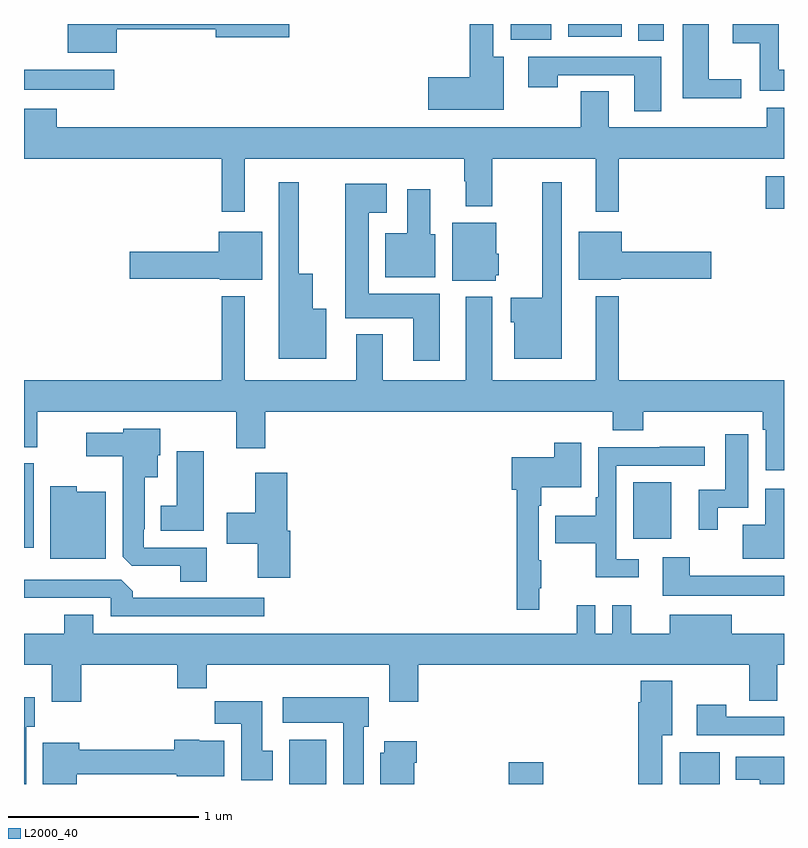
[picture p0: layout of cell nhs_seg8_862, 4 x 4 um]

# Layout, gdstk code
import gdstk
lib = gdstk.Library(unit=1e-6, precision=1e-09)
def R(c, l, rs):  # rectangles x0, y0, x1, y1
    for r in rs: c.add(gdstk.rectangle(r[:2], r[2:], *l))
def P(c, l, *ps):  # polygons
    for p in ps: c.add(gdstk.Polygon(p, *l))
L2000_40 = (2000, 40)

nhs_seg8_862 = lib.new_cell('nhs_seg8_862')
R(nhs_seg8_862, L2000_40, [(168.395,1087.9,168.592,1088.134), (169.55,1087.9,169.733,1088.014), (170.45,1087.9,170.662,1088.068), (167,1089.144,167.05,1089.588), (170.207,1089.191,170.407,1089.487), (170.904,1090.928,171,1091.098), (167,1091.555,167.476,1091.659), (170.234,1091.812,170.368,1091.9), (169.562,1091.816,169.774,1091.9), (169.865,1091.834,170.146,1091.9)])
P(nhs_seg8_862, L2000_40, [(167.488,1091.872),(168.008,1091.872),(168.008,1091.83),(168.397,1091.83),(168.397,1091.9),(167.231,1091.9),(167.231,1091.75),(167.488,1091.75)],
  [(171,1091.659),(170.973,1091.659),(170.973,1091.9),(170.73,1091.9),(170.73,1091.798),(170.872,1091.798),(170.872,1091.55),(171,1091.55)],
  [(169.525,1091.728),(169.471,1091.728),(169.471,1091.9),(169.346,1091.9),(169.346,1091.621),(169.128,1091.621),(169.128,1091.45),(169.525,1091.45)],
  [(170.776,1091.609),(170.605,1091.609),(170.605,1091.9),(170.468,1091.9),(170.468,1091.51),(170.776,1091.51)],
  [(170.353,1091.727),(169.653,1091.727),(169.653,1091.568),(169.809,1091.568),(169.809,1091.631),(170.213,1091.631),(170.213,1091.442),(170.353,1091.442)],
  [(168.163,1091.192),(169.318,1091.192),(169.318,1091.072),(169.325,1091.072),(169.325,1090.94),(169.465,1090.94),(169.465,1091.192),(170.009,1091.192),(170.009,1090.911),(170.131,1090.911),(170.131,1091.192),(171,1091.192),(171,1091.458),(170.909,1091.458),(170.909,1091.356),(170.077,1091.356),(170.077,1091.546),(169.93,1091.546),(169.93,1091.356),(167.173,1091.356),(167.173,1091.455),(167,1091.455),(167,1091.192),(168.042,1091.192),(168.042,1090.911),(168.163,1090.911)],
  [(169.831,1091.068),(169.727,1091.068),(169.727,1090.46),(169.562,1090.46),(169.562,1090.329),(169.58,1090.329),(169.58,1090.139),(169.831,1090.139)],
  [(168.592,1090.402),(168.52,1090.402),(168.52,1090.585),(168.445,1090.585),(168.445,1091.068),(168.341,1091.068),(168.341,1090.139),(168.592,1090.139)],
  [(169.189,1090.48),(168.814,1090.48),(168.814,1090.907),(168.91,1090.907),(168.91,1091.059),(168.692,1091.059),(168.692,1090.352),(169.049,1090.352),(169.049,1090.128),(169.189,1090.128)],
  [(169.165,1090.794),(169.138,1090.794),(169.138,1091.029),(169.016,1091.029),(169.016,1090.798),(168.902,1090.798),(168.902,1090.568),(169.165,1090.568)],
  [(169.482,1090.578),(169.498,1090.578),(169.498,1090.692),(169.486,1090.692),(169.486,1090.855),(169.253,1090.855),(169.253,1090.55),(169.482,1090.55)],
  [(168.253,1090.807),(168.026,1090.807),(168.026,1090.701),(167.556,1090.701),(167.556,1090.559),(168.03,1090.559),(168.03,1090.553),(168.253,1090.553)],
  [(170.142,1090.559),(170.617,1090.559),(170.617,1090.701),(170.146,1090.701),(170.146,1090.807),(169.919,1090.807),(169.919,1090.553),(170.142,1090.553)],
  [(171,1090.024),(170.131,1090.024),(170.131,1090.468),(170.009,1090.468),(170.009,1090.024),(169.465,1090.024),(169.465,1090.465),(169.325,1090.465),(169.325,1090.024),(168.889,1090.024),(168.889,1090.267),(168.749,1090.267),(168.749,1090.024),(168.163,1090.024),(168.163,1090.468),(168.042,1090.468),(168.042,1090.024),(167,1090.024),(167,1089.673),(167.071,1089.673),(167.071,1089.86),(168.116,1089.86),(168.116,1089.666),(168.269,1089.666),(168.269,1089.86),(170.099,1089.86),(170.099,1089.761),(170.259,1089.761),(170.259,1089.86),(170.889,1089.86),(170.889,1089.764),(170.904,1089.764),(170.904,1089.552),(171,1089.552)],
  [(167.962,1089.144),(167.631,1089.144),(167.631,1089.241),(167.635,1089.241),(167.635,1089.515),(167.704,1089.515),(167.704,1089.63),(167.716,1089.63),(167.716,1089.769),(167.523,1089.769),(167.523,1089.748),(167.328,1089.748),(167.328,1089.626),(167.519,1089.626),(167.519,1089.097),(167.568,1089.048),(167.822,1089.048),(167.822,1088.965),(167.962,1088.965)],
  [(170.65,1089.354),(170.812,1089.354),(170.812,1089.629),(170.811,1089.629),(170.811,1089.742),(170.69,1089.742),(170.69,1089.45),(170.552,1089.45),(170.552,1089.237),(170.65,1089.237)],
  [(169.712,1088.929),(169.723,1088.929),(169.723,1089.077),(169.71,1089.077),(169.71,1089.365),(169.723,1089.365),(169.723,1089.461),(169.933,1089.461),(169.933,1089.697),(169.79,1089.697),(169.79,1089.619),(169.568,1089.619),(169.568,1089.449),(169.594,1089.449),(169.594,1088.817),(169.712,1088.817)],
  [(170.236,1089.084),(170.118,1089.084),(170.118,1089.576),(170.584,1089.576),(170.584,1089.674),(170.347,1089.674),(170.347,1089.672),(170.022,1089.672),(170.022,1089.409),(170.01,1089.409),(170.01,1089.313),(169.795,1089.313),(169.795,1089.166),(170.01,1089.166),(170.01,1088.987),(170.236,1088.987)],
  [(167.947,1089.652),(167.804,1089.652),(167.804,1089.364),(167.72,1089.364),(167.72,1089.233),(167.947,1089.233)],
  [(168.401,1089.233),(168.386,1089.233),(168.386,1089.538),(168.218,1089.538),(168.218,1089.327),(168.066,1089.327),(168.066,1089.164),(168.23,1089.164),(168.23,1088.985),(168.401,1088.985)],
  [(167.431,1089.439),(167.277,1089.439),(167.277,1089.466),(167.138,1089.466),(167.138,1089.086),(167.431,1089.086)],
  [(171,1089.454),(170.9,1089.454),(170.9,1089.265),(170.783,1089.265),(170.783,1089.086),(171,1089.086)],
  [(171,1088.995),(170.503,1088.995),(170.503,1089.094),(170.363,1089.094),(170.363,1088.891),(171,1088.891)],
  [(168.265,1088.88),(167.573,1088.88),(167.573,1088.914),(167.511,1088.976),(167,1088.976),(167,1088.88),(167.457,1088.88),(167.457,1088.784),(168.265,1088.784)],
  [(167.3,1088.528),(167.807,1088.528),(167.807,1088.404),(167.963,1088.404),(167.963,1088.528),(168.923,1088.528),(168.923,1088.334),(169.076,1088.334),(169.076,1088.528),(170.818,1088.528),(170.818,1088.338),(170.965,1088.338),(170.965,1088.528),(171,1088.528),(171,1088.692),(170.725,1088.692),(170.725,1088.791),(170.399,1088.791),(170.399,1088.692),(170.195,1088.692),(170.195,1088.842),(170.097,1088.842),(170.097,1088.692),(170.007,1088.692),(170.007,1088.842),(169.91,1088.842),(169.91,1088.692),(167.365,1088.692),(167.365,1088.791),(167.213,1088.791),(167.213,1088.692),(167,1088.692),(167,1088.528),(167.147,1088.528),(167.147,1088.334),(167.3,1088.334)],
  [(170.359,1088.156),(170.413,1088.156),(170.413,1088.443),(170.246,1088.443),(170.246,1088.33),(170.234,1088.33),(170.234,1087.9),(170.359,1087.9)],
  [(167.011,1088.202),(167.056,1088.202),(167.056,1088.356),(167,1088.356),(167,1087.9),(167.011,1087.9)],
  [(168.787,1088.202),(168.814,1088.202),(168.814,1088.356),(168.363,1088.356),(168.363,1088.222),(168.68,1088.222),(168.68,1087.9),(168.787,1087.9)],
  [(168.31,1088.076),(168.253,1088.076),(168.253,1088.335),(168.004,1088.335),(168.004,1088.216),(168.143,1088.216),(168.143,1087.92),(168.31,1087.92)],
  [(171,1088.253),(170.697,1088.253),(170.697,1088.317),(170.541,1088.317),(170.541,1088.157),(171,1088.157)],
  [(167.278,1087.951),(167.804,1087.951),(167.804,1087.94),(168.055,1087.94),(168.055,1088.128),(167.922,1088.128),(167.922,1088.134),(167.792,1088.134),(167.792,1088.08),(167.291,1088.08),(167.291,1088.116),(167.099,1088.116),(167.099,1087.9),(167.278,1087.9)],
  [(169.054,1088.012),(169.067,1088.012),(169.067,1088.125),(168.896,1088.125),(168.896,1088.064),(168.875,1088.064),(168.875,1087.9),(169.054,1087.9)],
  [(171,1088.044),(170.747,1088.044),(170.747,1087.922),(170.873,1087.922),(170.873,1087.9),(171,1087.9)])

lib.write_gds('nhs_seg8_862.gds')
